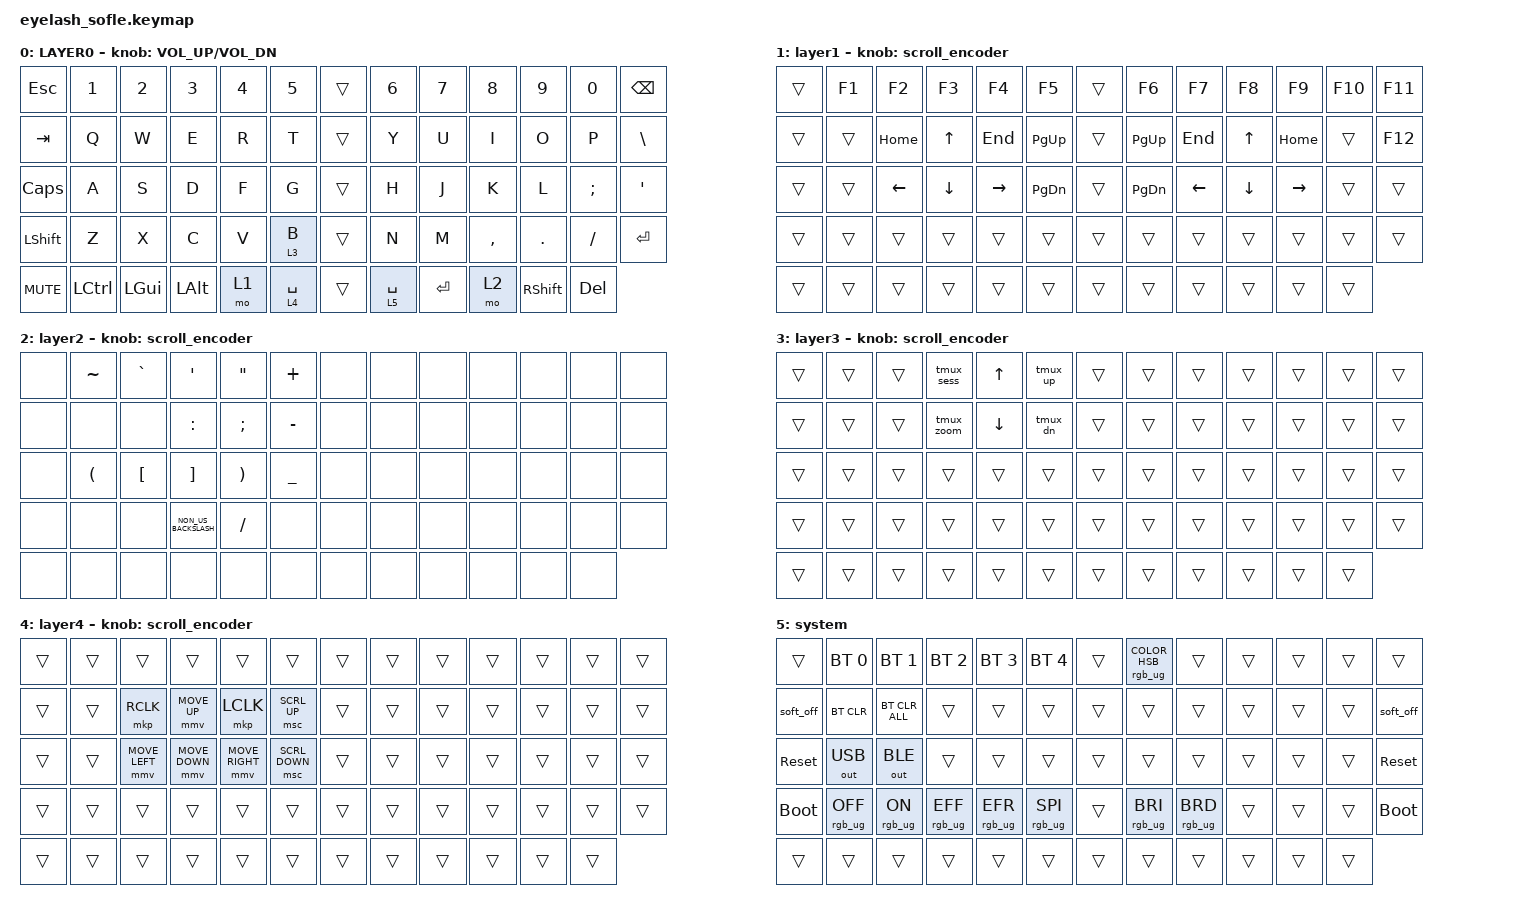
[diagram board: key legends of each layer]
#define ZMK_POINTING_DEFAULT_MOVE_VAL 1200  // 600
#define ZMK_POINTING_DEFAULT_SCRL_VAL 25   // 10

#include <input/processors.dtsi>
#include <zephyr/dt-bindings/input/input-event-codes.h>
#include <behaviors.dtsi>
#include <dt-bindings/zmk/bt.h>
#include <dt-bindings/zmk/keys.h>
#include <dt-bindings/zmk/outputs.h>
#include <dt-bindings/zmk/pointing.h>
#include <dt-bindings/zmk/rgb.h>

&mmv_input_listener { input-processors = <&zip_xy_scaler 2 1>; };

&msc_input_listener { input-processors = <&zip_scroll_scaler 2 1>; };

&msc {
    acceleration-exponent = <1>;      // 0
    time-to-max-speed-ms = <100>;       // 300
    delay-ms = <0>;                   // 0
};

&mmv {
    time-to-max-speed-ms = <500>;
    acceleration-exponent = <1>;
    trigger-period-ms = <16>;
};

&soft_off { hold-time-ms = <2000>; };

/ {
    scroll_encoder: scroll_encoder {
        compatible = "zmk,behavior-sensor-rotate";
        #sensor-binding-cells = <0>;
        bindings = <&msc SCRL_DOWN>, <&msc SCRL_UP>;

        tap-ms = <100>;
    };

    behaviors {
    };

    combos {
        compatible = "zmk,combos";

        softoff {
            bindings = <&soft_off>;
            key-positions = <14 28 40>;
        };
    };

    macros {
        tmux_zoom: tmux_zoom {
            compatible = "zmk,behavior-macro";
            #binding-cells = <0>;
            bindings = <&kp LC(B) &kp Z>;
            label = "TMUX_ZOOM";
        };

        tmux_sess: tmux_sess {
            compatible = "zmk,behavior-macro";
            #binding-cells = <0>;
            bindings = <&kp LC(B) &kp S>;
            label = "TMUX_SESS";
        };

        tmux_up: tmux_up {
            compatible = "zmk,behavior-macro";
            #binding-cells = <0>;
            bindings = <&kp LC(B) &kp UP_ARROW>;
            label = "TMUX_UP";
        };

        tmux_dn: tmux_dn {
            compatible = "zmk,behavior-macro";
            #binding-cells = <0>;
            bindings = <&kp LC(B) &kp DOWN>;
            label = "TMUX_DN";
        };
    };

    keymap {
        compatible = "zmk,keymap";

        layer0 {
            bindings = <
&kp ESC     &kp N1     &kp N2        &kp N3        &kp N4  &kp N5         &trans  &kp N6       &kp N7     &kp N8     &kp N9           &kp N0      &kp BACKSPACE
&kp TAB     &kp Q      &kp W         &kp E         &kp R   &kp T          &trans  &kp Y        &kp U      &kp I      &kp O            &kp P       &kp BSLH
&kp CAPS    &kp A      &kp S         &kp D         &kp F   &kp G          &trans  &kp H        &kp J      &kp K      &kp L            &kp SEMI    &kp APOS
&kp LSHFT   &kp Z      &kp X         &kp C         &kp V   &lt 3 B        &trans  &kp N        &kp M      &kp COMMA  &kp DOT          &kp FSLH    &kp ENTER
&kp C_MUTE  &kp LCTRL  &kp LEFT_GUI  &kp LEFT_ALT  &mo 1   &lt 4 SPACE    &trans  &lt 5 SPACE  &kp ENTER  &mo 2      &kp RIGHT_SHIFT  &kp DELETE
            >;

            sensor-bindings = <&inc_dec_kp C_VOLUME_UP C_VOL_DN>;
            display-name = "LAYER0";
        };

        function {
            bindings = <
&trans  &kp F1  &kp F2    &kp F3          &kp F4     &kp F5           &trans  &kp F6     &kp F7    &kp F8    &kp F9     &kp F10  &kp F11
&trans  &trans  &kp HOME  &kp UP_ARROW    &kp END    &kp PAGE_UP      &trans  &kp PG_UP  &kp END   &kp UP    &kp HOME   &trans   &kp F12
&trans  &trans  &kp LEFT  &kp DOWN_ARROW  &kp RIGHT  &kp PAGE_DOWN    &trans  &kp PG_DN  &kp LEFT  &kp DOWN  &kp RIGHT  &trans   &trans
&trans  &trans  &trans    &trans          &trans     &trans           &trans  &trans     &trans    &trans    &trans     &trans   &trans
&trans  &trans  &trans    &trans          &trans     &trans           &trans  &trans     &trans    &trans    &trans     &trans
            >;

            display-name = "layer1";
            sensor-bindings = <&scroll_encoder>;
        };

        symbol {
            bindings = <
&none  &kp TILDE             &kp GRAVE         &kp SQT               &kp DOUBLE_QUOTES      &kp PLUS          &none  &none  &none  &none  &none  &none  &none
&none  &none                 &none             &kp COLON             &kp SEMICOLON          &kp MINUS         &none  &none  &none  &none  &none  &none  &none
&none  &kp LEFT_PARENTHESIS  &kp LEFT_BRACKET  &kp RIGHT_BRACKET     &kp RIGHT_PARENTHESIS  &kp UNDERSCORE    &none  &none  &none  &none  &none  &none  &none
&none  &none                 &none             &kp NON_US_BACKSLASH  &kp SLASH              &none             &none  &none  &none  &none  &none  &none  &none
&none  &none                 &none             &none                 &none                  &none             &none  &none  &none  &none  &none  &none
            >;

            display-name = "layer2";
            sensor-bindings = <&scroll_encoder>;
        };

        tmux {
            bindings = <
&trans  &trans  &trans  &tmux_sess  &kp UP_ARROW    &tmux_up    &trans  &trans  &trans  &trans  &trans  &trans  &trans
&trans  &trans  &trans  &tmux_zoom  &kp DOWN_ARROW  &tmux_dn    &trans  &trans  &trans  &trans  &trans  &trans  &trans
&trans  &trans  &trans  &trans      &trans          &trans      &trans  &trans  &trans  &trans  &trans  &trans  &trans
&trans  &trans  &trans  &trans      &trans          &trans      &trans  &trans  &trans  &trans  &trans  &trans  &trans
&trans  &trans  &trans  &trans      &trans          &trans      &trans  &trans  &trans  &trans  &trans  &trans
            >;

            display-name = "layer3";
            sensor-bindings = <&scroll_encoder>;
        };

        mouse {
            bindings = <
&trans  &trans  &trans          &trans          &trans           &trans            &trans  &trans  &trans  &trans  &trans  &trans  &trans
&trans  &trans  &mkp RCLK       &mmv MOVE_UP    &mkp LCLK        &msc SCRL_UP      &trans  &trans  &trans  &trans  &trans  &trans  &trans
&trans  &trans  &mmv MOVE_LEFT  &mmv MOVE_DOWN  &mmv MOVE_RIGHT  &msc SCRL_DOWN    &trans  &trans  &trans  &trans  &trans  &trans  &trans
&trans  &trans  &trans          &trans          &trans           &trans            &trans  &trans  &trans  &trans  &trans  &trans  &trans
&trans  &trans  &trans          &trans          &trans           &trans            &trans  &trans  &trans  &trans  &trans  &trans
            >;

            display-name = "layer4";
            sensor-bindings = <&scroll_encoder>;
        };

        system {
            bindings = <
&trans       &bt BT_SEL 0     &bt BT_SEL 1    &bt BT_SEL 2     &bt BT_SEL 3     &bt BT_SEL 4       &trans  &rgb_ug RGB_COLOR_HSB(0,100,50)  &trans           &trans  &trans  &trans  &trans
&soft_off    &bt BT_CLR       &bt BT_CLR_ALL  &trans           &trans           &trans             &trans  &trans                           &trans           &trans  &trans  &trans  &soft_off
&sys_reset   &out OUT_USB     &out OUT_BLE    &trans           &trans           &trans             &trans  &trans                           &trans           &trans  &trans  &trans  &sys_reset
&bootloader  &rgb_ug RGB_OFF  &rgb_ug RGB_ON  &rgb_ug RGB_EFF  &rgb_ug RGB_EFR  &rgb_ug RGB_SPI    &trans  &rgb_ug RGB_BRI                  &rgb_ug RGB_BRD  &trans  &trans  &trans  &bootloader
&trans       &trans           &trans          &trans           &trans           &trans             &trans  &trans                           &trans           &trans  &trans  &trans
            >;
        };
    };
};
